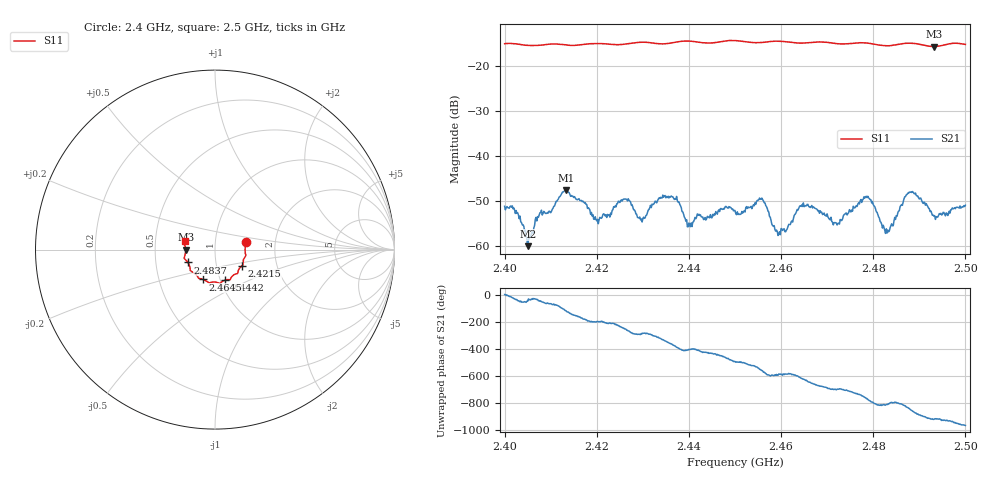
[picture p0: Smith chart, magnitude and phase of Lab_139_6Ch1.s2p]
# Hz S RI R 50
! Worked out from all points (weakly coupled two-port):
!   601 points, 2.4 GHz to 2.5 GHz, reference 50 ohm
!   highest |S21| = -47.58 dB at 2.4133 GHz (marker M1); lowest = -60.0 dB at 2.405 GHz (marker M2)
!   lowest |S11| = -15.7 dB at 2.4932 GHz (marker M3), VSWR 1.39, Z = 35.9 - j0.0524 ohm
!   |S11| at or under -10 dB: start of sweep to end of sweep
!   S12 and S22 are empty: the file has one direction only
!   S11 on the Smith chart (normalised r, x): 2.4 GHz: 1.41, +0.12; 2.4215 GHz: 1.33, -0.25; 2.4442 GHz: 1.05, -0.37; 2.4645 GHz: 0.83, -0.29; 2.4837 GHz: 0.73, -0.11; 2.5 GHz: 0.71, +0.07
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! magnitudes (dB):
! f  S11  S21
! 2.4 GHz  -15.1  -51.1
! 2.405 GHz  -15.5  -60.0
! 2.4133 GHz  -15.4  -47.6
! 2.4167 GHz  -15.3  -49.8
! 2.4215 GHz  -15.1  -52.8
! 2.4263 GHz  -15.2  -49.5
! 2.43 GHz  -14.8  -53.8
! 2.4333 GHz  -15.1  -49.6
! 2.4402 GHz  -14.5  -55.4
! 2.4442 GHz  -15.0  -53.4
! 2.45 GHz  -14.4  -52.1
! 2.4557 GHz  -14.8  -49.5
! 2.4593 GHz  -14.5  -57.6
! 2.4645 GHz  -15.0  -50.8
! 2.4667 GHz  -14.8  -50.9
! 2.4722 GHz  -15.1  -55.3
! 2.4785 GHz  -14.9  -48.9
! 2.4833 GHz  -15.6  -56.8
! 2.4837 GHz  -15.5  -55.8
! 2.488 GHz  -15.0  -48.0
! 2.4932 GHz  -15.7  -53.3
! 2.5 GHz  -15.3  -50.9
